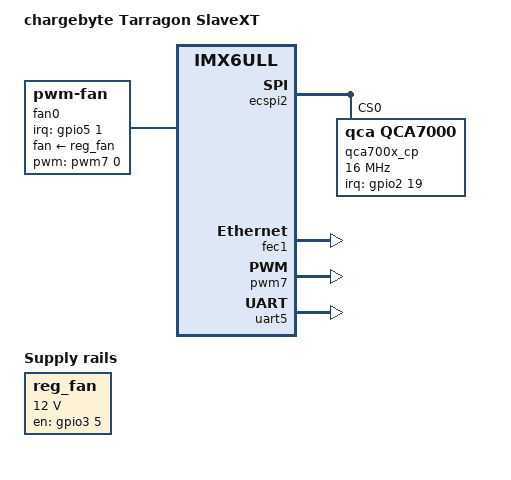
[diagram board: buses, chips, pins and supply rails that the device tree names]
// SPDX-License-Identifier: GPL-2.0 OR MIT
//
// Copyright (C) 2023 chargebyte GmbH

#include "imx6ull-tarragon-common.dtsi"

/ {
	model = "chargebyte Tarragon SlaveXT";
	compatible = "chargebyte,imx6ull-tarragon-slavext", "fsl,imx6ull";

	fan0: pwm-fan {
		compatible = "pwm-fan";
		pwms = <&pwm7 0 40000 PWM_POLARITY_INVERTED>;
		pinctrl-names = "default";
		pinctrl-0 = <&pinctrl_fan_sense_snvs>;
		fan-supply = <&reg_fan>;
		interrupt-parent = <&gpio5>;
		interrupts = <1 IRQ_TYPE_EDGE_FALLING>;
	};

	reg_fan: regulator {
		compatible = "regulator-fixed";
		regulator-name = "fan-supply";
		pinctrl-names = "default";
		pinctrl-0 = <&pinctrl_fan_enable>;
		regulator-min-microvolt = <12000000>;
		regulator-max-microvolt = <12000000>;
		gpio = <&gpio3 5 GPIO_ACTIVE_HIGH>;
		enable-active-high;
		regulator-boot-on;
	};
};

&ecspi2 {
	status = "okay";

	qca700x_cp: ethernet@0 {
		reg = <0x0>;
		compatible = "qca,qca7000";
		pinctrl-names = "default";
		pinctrl-0 = <&pinctrl_qca700x_cp_int
			     &pinctrl_qca700x_cp_rst
			     &pinctrl_qca700x_cp_btld>;
		interrupt-parent = <&gpio2>;
		interrupts = <19 IRQ_TYPE_EDGE_RISING>;
		spi-cpha;
		spi-cpol;
		spi-max-frequency = <16000000>;
	};
};

&fec1 {
	status = "okay";
};

&pwm7 {
	pinctrl-names = "default";
	pinctrl-0 = <&pinctrl_pwm_fan>;
	status = "okay";
};

&uart5 {
	status = "okay";
};
